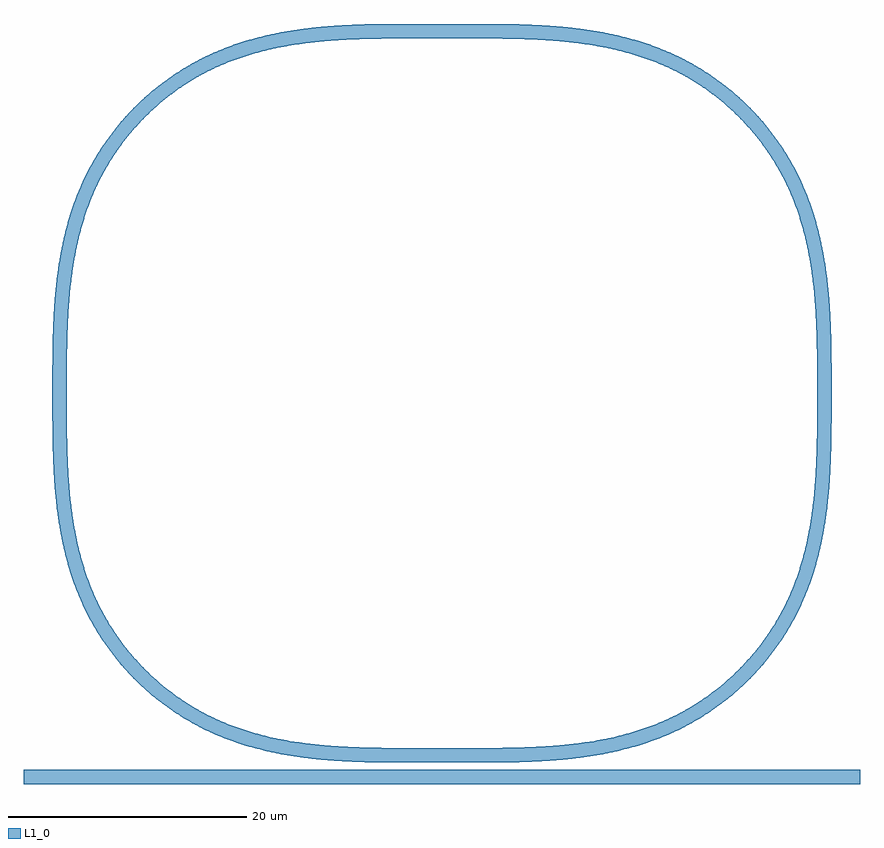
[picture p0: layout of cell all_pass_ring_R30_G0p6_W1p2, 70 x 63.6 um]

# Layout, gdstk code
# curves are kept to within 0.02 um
from math import pi, radians
import gdstk
lib = gdstk.Library(unit=1e-6, precision=1e-09)
def R(c, l, rs):  # rectangles x0, y0, x1, y1
    for r in rs: c.add(gdstk.rectangle(r[:2], r[2:], *l))
def P(c, l, *ps):  # polygons
    for p in ps: c.add(gdstk.Polygon(p, *l))
L1_0 = (1, 0)

coupler_ring_gdsfactoryp = lib.new_cell('coupler_ring_gdsfactorypcomponentspcouplerspcoupler_rin_8f035760')
R(coupler_ring_gdsfactoryp, L1_0, [(-37,-0.6,33,0.6)])
P(coupler_ring_gdsfactoryp, L1_0, [(-4.94,1.2),(-7.499,1.22),(-9.255,1.268),(-11.015,1.362),(-12.64,1.502),(-14.128,1.687),(-15.744,1.961),(-17.215,2.288),(-18.538,2.656),(-19.842,3.097),(-21.255,3.678),(-22.513,4.297),(-23.609,4.922),(-24.783,5.69),(-25.904,6.531),(-26.969,7.443),(-27.876,8.321),(-28.821,9.356),(-29.699,10.45),(-30.504,11.598),(-31.164,12.673),(-31.76,13.785),(-32.346,15.059),(-32.843,16.347),(-33.262,17.657),(-33.609,18.984),(-33.915,20.459),(-34.151,21.942),(-34.351,23.702),(-34.465,25.191),(-34.551,27.086),(-34.6,31.8),(-33.4,31.8),(-33.388,28.856),(-33.343,26.857),(-33.232,24.736),(-33.076,23.022),(-32.803,21.063),(-32.528,19.643),(-32.145,18.116),(-31.754,16.868),(-31.39,15.889),(-30.918,14.799),(-30.381,13.734),(-29.784,12.702),(-29.128,11.706),(-28.415,10.75),(-27.648,9.837),(-26.83,8.97),(-25.864,8.064),(-24.946,7.303),(-23.876,6.521),(-22.758,5.81),(-21.597,5.173),(-20.397,4.611),(-19.301,4.177),(-18.061,3.765),(-16.797,3.421),(-15.385,3.114),(-13.825,2.856),(-12.383,2.682),(-10.8,2.55),(-9.076,2.462),(-4.938,2.4),(2.544,2.408),(5.474,2.478),(7.064,2.568),(8.778,2.724),(10.086,2.894),(11.514,3.139),(12.924,3.452),(14.311,3.842),(15.79,4.362),(17.001,4.882),(18.182,5.482),(19.323,6.157),(20.524,6.982),(21.461,7.719),(22.45,8.6),(23.471,9.64),(24.333,10.647),(25.128,11.706),(25.922,12.928),(26.506,13.968),(27.083,15.16),(27.532,16.254),(27.997,17.614),(28.41,19.131),(28.758,20.803),(29.03,22.629),(29.212,24.471),(29.333,26.592),(29.388,28.856),(29.4,31.8),(30.6,31.8),(30.588,28.841),(30.542,26.815),(30.438,24.785),(30.298,23.16),(30.073,21.402),(29.812,19.921),(29.444,18.319),(29.062,16.999),(28.555,15.572),(27.945,14.163),(27.302,12.917),(26.504,11.598),(25.614,10.338),(24.638,9.144),(23.679,8.121),(22.55,7.07),(21.35,6.101),(20.202,5.296),(19.127,4.636),(17.763,3.916),(16.484,3.347),(15.193,2.867),(13.879,2.463),(12.281,2.071),(10.937,1.814),(9.317,1.579),(7.692,1.413),(5.796,1.291),(2.689,1.209)])

bend_euler_gdsfactorypco = lib.new_cell('bend_euler_gdsfactorypcomponentspbendspbend_euler_R30_A_834de23b')
P(bend_euler_gdsfactorypco, L1_0, [(0,-0.6),(0,0.6),(2.944,0.612),(4.943,0.657),(7.064,0.768),(8.778,0.924),(10.737,1.197),(12.157,1.472),(13.684,1.855),(14.932,2.246),(15.911,2.61),(17.001,3.082),(18.066,3.619),(19.098,4.216),(20.094,4.872),(21.05,5.585),(21.963,6.352),(22.83,7.17),(23.648,8.037),(24.415,8.95),(25.128,9.906),(25.784,10.902),(26.381,11.934),(26.918,12.999),(27.39,14.089),(27.754,15.068),(28.145,16.316),(28.528,17.843),(28.803,19.263),(29.076,21.222),(29.232,22.936),(29.343,25.057),(29.388,27.056),(29.4,30),(30.6,30),(30.551,25.286),(30.465,23.391),(30.351,21.902),(30.151,20.142),(29.915,18.659),(29.609,17.184),(29.262,15.857),(28.843,14.547),(28.346,13.259),(27.76,11.985),(27.164,10.873),(26.504,9.798),(25.614,8.538),(24.638,7.344),(23.679,6.321),(22.656,5.362),(21.462,4.386),(20.202,3.496),(19.127,2.836),(18.015,2.24),(16.741,1.654),(15.453,1.157),(14.143,0.738),(12.816,0.391),(11.341,0.085),(9.858,-0.151),(8.098,-0.351),(6.609,-0.465),(4.714,-0.551)])

straight_gdsfactorypcomp = lib.new_cell('straight_gdsfactorypcomponentspwaveguidespstraight_L4_N_7efc2f91')
R(straight_gdsfactorypcomp, L1_0, [(0,-0.6,4,0.6)])

c_straight_gdsfactorypcomp = lib.new_cell('straight_gdsfactorypcomponentspwaveguidespstraight_L0p6_36529a3f')
R(c_straight_gdsfactorypcomp, L1_0, [(0,-0.6,0.6,0.6)])

all_pass_ring_r30_g0p6_w = lib.new_cell('all_pass_ring_R30_G0p6_W1p2')
all_pass_ring_r30_g0p6_w.add(gdstk.Reference(coupler_ring_gdsfactoryp, (0,0)))
all_pass_ring_r30_g0p6_w.add(gdstk.Reference(bend_euler_gdsfactorypco, (-4,62.4), rotation=pi))
all_pass_ring_r30_g0p6_w.add(gdstk.Reference(bend_euler_gdsfactorypco, (30,32.4), rotation=pi/2))
all_pass_ring_r30_g0p6_w.add(gdstk.Reference(straight_gdsfactorypcomp, (0,62.4), rotation=pi))
all_pass_ring_r30_g0p6_w.add(gdstk.Reference(c_straight_gdsfactorypcomp, (-34,31.8), rotation=pi/2))
all_pass_ring_r30_g0p6_w.add(gdstk.Reference(c_straight_gdsfactorypcomp, (30,32.4), rotation=3*pi/2))

lib.write_gds('all_pass_ring_R30_G0p6_W1p2.gds')
